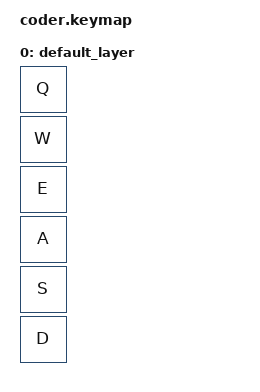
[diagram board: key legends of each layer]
#include <behaviors.dtsi>

/ {
    keymap {
        compatible = "zmk,keymap";

        default_layer {
            // bindings = <
            //     &kp Q &kp W
            //     &kp A &kp S
            //     &kp E &kp D
            // >;
            bindings = <
                &kp Q
                &kp W
                &kp E
                &kp A
                &kp S
                &kp D
            >;
        };
    };
};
